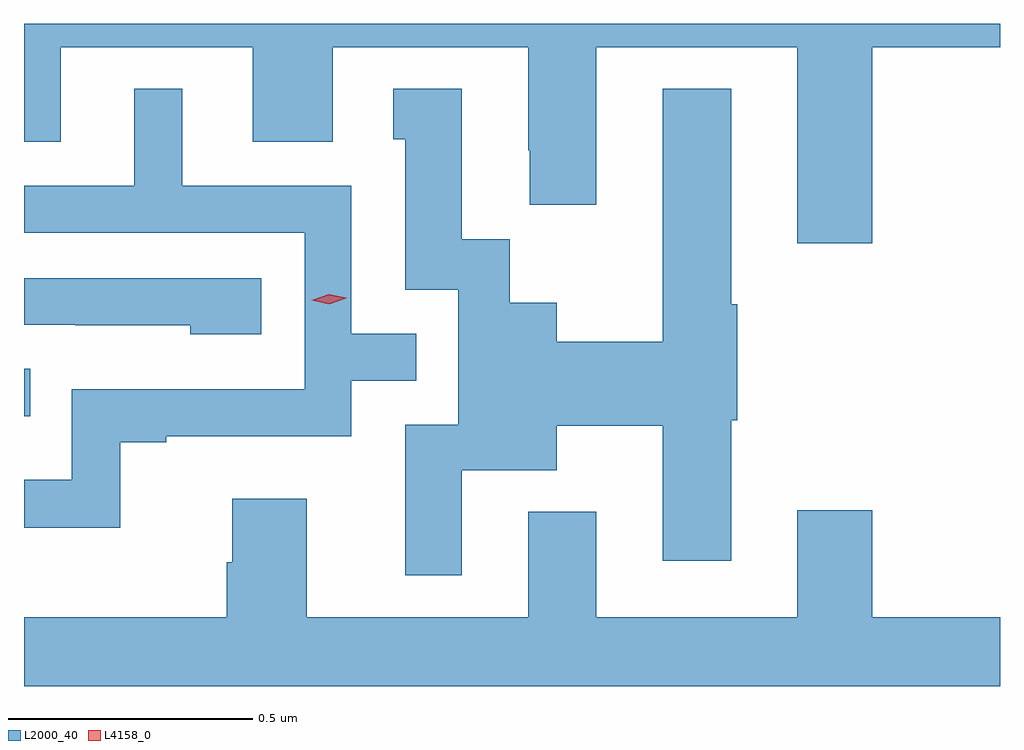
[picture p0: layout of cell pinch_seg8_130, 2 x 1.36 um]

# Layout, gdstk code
import gdstk
lib = gdstk.Library(unit=1e-6, precision=1e-09)
def R(c, l, rs):  # rectangles x0, y0, x1, y1
    for r in rs: c.add(gdstk.rectangle(r[:2], r[2:], *l))
def P(c, l, *ps):  # polygons
    for p in ps: c.add(gdstk.Polygon(p, *l))
L2000_40 = (2000, 40)
L4158_0 = (4158, 0)

pinch_seg8_130 = lib.new_cell('pinch_seg8_130')
R(pinch_seg8_130, L2000_40, [(796.444,1163.696,796.457,1163.793)])
P(pinch_seg8_130, L2000_40, [(796.444,1164.258),(796.519,1164.258),(796.519,1164.452),(796.913,1164.452),(796.913,1164.258),(797.077,1164.258),(797.077,1164.452),(797.477,1164.452),(797.477,1164.241),(797.48,1164.241),(797.48,1164.129),(797.617,1164.129),(797.617,1164.452),(798.029,1164.452),(798.029,1164.051),(798.182,1164.051),(798.182,1164.452),(798.444,1164.452),(798.444,1164.5),(796.444,1164.5)],
  [(796.641,1163.643),(796.735,1163.643),(796.735,1163.655),(797.115,1163.655),(797.115,1163.769),(797.248,1163.769),(797.248,1163.865),(797.115,1163.865),(797.115,1164.168),(796.768,1164.168),(796.768,1164.367),(796.67,1164.367),(796.67,1164.168),(796.444,1164.168),(796.444,1164.072),(797.019,1164.072),(797.019,1163.751),(796.542,1163.751),(796.542,1163.566),(796.444,1163.566),(796.444,1163.468),(796.641,1163.468)],
  [(797.341,1163.585),(797.536,1163.585),(797.536,1163.677),(797.753,1163.677),(797.753,1163.4),(797.893,1163.4),(797.893,1163.688),(797.906,1163.688),(797.906,1163.925),(797.893,1163.925),(797.893,1164.367),(797.753,1164.367),(797.753,1163.849),(797.536,1163.849),(797.536,1163.929),(797.439,1163.929),(797.439,1164.059),(797.341,1164.059),(797.341,1164.367),(797.201,1164.367),(797.201,1164.264),(797.225,1164.264),(797.225,1163.955),(797.334,1163.955),(797.334,1163.679),(797.225,1163.679),(797.225,1163.37),(797.341,1163.37)],
  [(796.93,1163.979),(796.444,1163.979),(796.444,1163.883),(796.549,1163.883),(796.549,1163.882),(796.785,1163.882),(796.785,1163.864),(796.93,1163.864)],
  [(798.444,1163.284),(798.182,1163.284),(798.182,1163.503),(798.029,1163.503),(798.029,1163.284),(797.617,1163.284),(797.617,1163.5),(797.477,1163.5),(797.477,1163.284),(797.023,1163.284),(797.023,1163.527),(796.871,1163.527),(796.871,1163.397),(796.859,1163.397),(796.859,1163.284),(796.444,1163.284),(796.444,1163.143),(798.444,1163.143)])
P(pinch_seg8_130, L4158_0, [(797.07,1163.926),(797.034,1163.934),(797.034,1163.934),(797.034,1163.934),(797.068,1163.946),(797.104,1163.939),(797.104,1163.938),(797.104,1163.938)])

lib.write_gds('pinch_seg8_130.gds')
